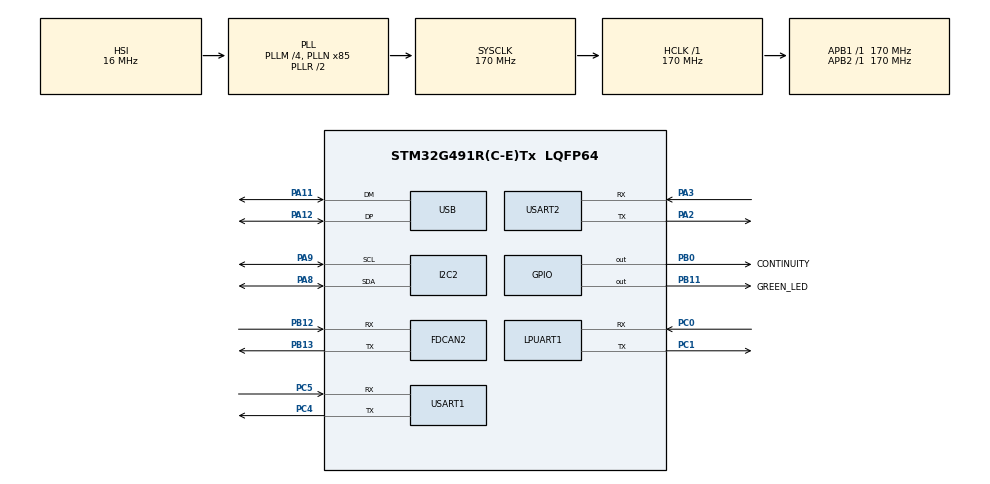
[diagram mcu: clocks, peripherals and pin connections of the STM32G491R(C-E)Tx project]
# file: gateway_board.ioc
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Dma.DMA_GENERATOR0.0.Direction=DMA_PERIPH_TO_MEMORY
Dma.DMA_GENERATOR0.0.EventEnable=DISABLE
Dma.DMA_GENERATOR0.0.Instance=DMA1_Channel1
Dma.DMA_GENERATOR0.0.MemDataAlignment=DMA_MDATAALIGN_BYTE
Dma.DMA_GENERATOR0.0.MemInc=DMA_MINC_ENABLE
Dma.DMA_GENERATOR0.0.Mode=DMA_NORMAL
Dma.DMA_GENERATOR0.0.PeriphDataAlignment=DMA_PDATAALIGN_BYTE
Dma.DMA_GENERATOR0.0.PeriphInc=DMA_PINC_DISABLE
Dma.DMA_GENERATOR0.0.Polarity=HAL_DMAMUX_REQ_GEN_RISING
Dma.DMA_GENERATOR0.0.Priority=DMA_PRIORITY_LOW
Dma.DMA_GENERATOR0.0.RequestNumber=1
Dma.DMA_GENERATOR0.0.SignalID=NONE
Dma.DMA_GENERATOR0.0.SyncEnable=DISABLE
Dma.DMA_GENERATOR0.0.SyncPolarity=HAL_DMAMUX_SYNC_NO_EVENT
Dma.DMA_GENERATOR0.0.SyncRequestNumber=1
Dma.DMA_GENERATOR0.0.SyncSignalID=NONE
Dma.LPUART1_RX.1.Direction=DMA_PERIPH_TO_MEMORY
Dma.LPUART1_RX.1.EventEnable=DISABLE
Dma.LPUART1_RX.1.Instance=DMA1_Channel2
Dma.LPUART1_RX.1.MemDataAlignment=DMA_MDATAALIGN_BYTE
Dma.LPUART1_RX.1.MemInc=DMA_MINC_ENABLE
Dma.LPUART1_RX.1.Mode=DMA_NORMAL
Dma.LPUART1_RX.1.PeriphDataAlignment=DMA_PDATAALIGN_BYTE
Dma.LPUART1_RX.1.PeriphInc=DMA_PINC_DISABLE
Dma.LPUART1_RX.1.Polarity=HAL_DMAMUX_REQ_GEN_RISING
Dma.LPUART1_RX.1.Priority=DMA_PRIORITY_LOW
Dma.LPUART1_RX.1.RequestNumber=1
Dma.LPUART1_RX.1.SignalID=NONE
Dma.LPUART1_RX.1.SyncEnable=DISABLE
Dma.LPUART1_RX.1.SyncPolarity=HAL_DMAMUX_SYNC_NO_EVENT
Dma.LPUART1_RX.1.SyncRequestNumber=1
Dma.LPUART1_RX.1.SyncSignalID=NONE
Dma.LPUART1_TX.2.Direction=DMA_MEMORY_TO_PERIPH
Dma.LPUART1_TX.2.EventEnable=DISABLE
Dma.LPUART1_TX.2.Instance=DMA1_Channel3
Dma.LPUART1_TX.2.MemDataAlignment=DMA_MDATAALIGN_BYTE
Dma.LPUART1_TX.2.MemInc=DMA_MINC_ENABLE
Dma.LPUART1_TX.2.Mode=DMA_NORMAL
Dma.LPUART1_TX.2.PeriphDataAlignment=DMA_PDATAALIGN_BYTE
Dma.LPUART1_TX.2.PeriphInc=DMA_PINC_DISABLE
Dma.LPUART1_TX.2.Polarity=HAL_DMAMUX_REQ_GEN_RISING
Dma.LPUART1_TX.2.Priority=DMA_PRIORITY_LOW
Dma.LPUART1_TX.2.RequestNumber=1
Dma.LPUART1_TX.2.SignalID=NONE
Dma.LPUART1_TX.2.SyncEnable=DISABLE
Dma.LPUART1_TX.2.SyncPolarity=HAL_DMAMUX_SYNC_NO_EVENT
Dma.LPUART1_TX.2.SyncRequestNumber=1
Dma.LPUART1_TX.2.SyncSignalID=NONE
Dma.Request0=DMA_GENERATOR0
Dma.Request1=LPUART1_RX
Dma.Request2=LPUART1_TX
Dma.Request3=USART2_RX
Dma.Request4=USART2_TX
Dma.Request5=USART1_RX
Dma.Request6=USART1_TX
Dma.USART1_RX.5.Direction=DMA_PERIPH_TO_MEMORY
Dma.USART1_RX.5.EventEnable=DISABLE
Dma.USART1_RX.5.Instance=DMA1_Channel6
Dma.USART1_RX.5.MemDataAlignment=DMA_MDATAALIGN_BYTE
Dma.USART1_RX.5.MemInc=DMA_MINC_ENABLE
Dma.USART1_RX.5.Mode=DMA_NORMAL
Dma.USART1_RX.5.PeriphDataAlignment=DMA_PDATAALIGN_BYTE
Dma.USART1_RX.5.PeriphInc=DMA_PINC_DISABLE
Dma.USART1_RX.5.Polarity=HAL_DMAMUX_REQ_GEN_RISING
Dma.USART1_RX.5.Priority=DMA_PRIORITY_LOW
Dma.USART1_RX.5.RequestNumber=1
Dma.USART1_RX.5.SignalID=NONE
Dma.USART1_RX.5.SyncEnable=DISABLE
Dma.USART1_RX.5.SyncPolarity=HAL_DMAMUX_SYNC_NO_EVENT
Dma.USART1_RX.5.SyncRequestNumber=1
Dma.USART1_RX.5.SyncSignalID=NONE
Dma.USART1_TX.6.Direction=DMA_MEMORY_TO_PERIPH
Dma.USART1_TX.6.EventEnable=DISABLE
Dma.USART1_TX.6.Instance=DMA1_Channel7
Dma.USART1_TX.6.MemDataAlignment=DMA_MDATAALIGN_BYTE
Dma.USART1_TX.6.MemInc=DMA_MINC_ENABLE
Dma.USART1_TX.6.Mode=DMA_NORMAL
Dma.USART1_TX.6.PeriphDataAlignment=DMA_PDATAALIGN_BYTE
Dma.USART1_TX.6.PeriphInc=DMA_PINC_DISABLE
Dma.USART1_TX.6.Polarity=HAL_DMAMUX_REQ_GEN_RISING
Dma.USART1_TX.6.Priority=DMA_PRIORITY_LOW
Dma.USART1_TX.6.RequestNumber=1
Dma.USART1_TX.6.SignalID=NONE
Dma.USART1_TX.6.SyncEnable=DISABLE
Dma.USART1_TX.6.SyncPolarity=HAL_DMAMUX_SYNC_NO_EVENT
Dma.USART1_TX.6.SyncRequestNumber=1
Dma.USART1_TX.6.SyncSignalID=NONE
Dma.USART2_RX.3.Direction=DMA_PERIPH_TO_MEMORY
Dma.USART2_RX.3.EventEnable=DISABLE
Dma.USART2_RX.3.Instance=DMA1_Channel4
Dma.USART2_RX.3.MemDataAlignment=DMA_MDATAALIGN_BYTE
Dma.USART2_RX.3.MemInc=DMA_MINC_ENABLE
Dma.USART2_RX.3.Mode=DMA_CIRCULAR
Dma.USART2_RX.3.PeriphDataAlignment=DMA_PDATAALIGN_BYTE
Dma.USART2_RX.3.PeriphInc=DMA_PINC_DISABLE
Dma.USART2_RX.3.Polarity=HAL_DMAMUX_REQ_GEN_RISING
Dma.USART2_RX.3.Priority=DMA_PRIORITY_LOW
Dma.USART2_RX.3.RequestNumber=1
Dma.USART2_RX.3.SignalID=NONE
Dma.USART2_RX.3.SyncEnable=DISABLE
Dma.USART2_RX.3.SyncPolarity=HAL_DMAMUX_SYNC_NO_EVENT
Dma.USART2_RX.3.SyncRequestNumber=1
Dma.USART2_RX.3.SyncSignalID=NONE
Dma.USART2_TX.4.Direction=DMA_MEMORY_TO_PERIPH
Dma.USART2_TX.4.EventEnable=DISABLE
Dma.USART2_TX.4.Instance=DMA1_Channel5
Dma.USART2_TX.4.MemDataAlignment=DMA_MDATAALIGN_BYTE
Dma.USART2_TX.4.MemInc=DMA_MINC_ENABLE
Dma.USART2_TX.4.Mode=DMA_NORMAL
Dma.USART2_TX.4.PeriphDataAlignment=DMA_PDATAALIGN_BYTE
Dma.USART2_TX.4.PeriphInc=DMA_PINC_DISABLE
Dma.USART2_TX.4.Polarity=HAL_DMAMUX_REQ_GEN_RISING
Dma.USART2_TX.4.Priority=DMA_PRIORITY_LOW
Dma.USART2_TX.4.RequestNumber=1
Dma.USART2_TX.4.SignalID=NONE
Dma.USART2_TX.4.SyncEnable=DISABLE
Dma.USART2_TX.4.SyncPolarity=HAL_DMAMUX_SYNC_NO_EVENT
Dma.USART2_TX.4.SyncRequestNumber=1
Dma.USART2_TX.4.SyncSignalID=NONE
FDCAN2.CalculateBaudRateNominal=3541666
FDCAN2.CalculateTimeBitNominal=282
FDCAN2.CalculateTimeQuantumNominal=11.764705882352942
FDCAN2.FrameFormat=FDCAN_FRAME_FD_NO_BRS
FDCAN2.AutoRetransmission=ENABLE
FDCAN2.NominalPrescaler=2
FDCAN2.NominalTimeSeg1=19
FDCAN2.NominalTimeSeg2=4
FDCAN2.NominalSyncJumpWidth=4
I2C2.Timing=0x00503D58
LPUART1.FIFOMode=UART_FIFOMODE_ENABLE
LPUART1.VirtualMode-Asynchronous=VM_ASYNC
Mcu.Family=STM32G4
Mcu.Name=STM32G491R(C-E)Tx
Mcu.Package=LQFP64
NVIC.DMA1_Channel2_IRQn=true\:0\:0\:false\:false\:true\:true\:false\:true\:true
NVIC.DMA1_Channel3_IRQn=true\:0\:0\:false\:false\:true\:true\:false\:true\:true
NVIC.DMA1_Channel4_IRQn=true\:0\:0\:false\:false\:true\:true\:false\:true\:true
NVIC.DMA1_Channel5_IRQn=true\:0\:0\:false\:false\:true\:true\:false\:true\:true
NVIC.DMA1_Channel6_IRQn=true\:0\:0\:false\:false\:true\:true\:false\:true\:true
NVIC.DMA1_Channel7_IRQn=true\:0\:0\:false\:false\:true\:true\:false\:true\:true
NVIC.FDCAN2_IT0_IRQn=true\:6\:0\:true\:false\:true\:false\:true\:true\:true
NVIC.FDCAN2_IT1_IRQn=true\:6\:0\:true\:false\:true\:false\:true\:true\:true
NVIC.LPUART1_IRQn=true\:0\:0\:false\:false\:true\:true\:true\:true\:true
NVIC.PriorityGroup=NVIC_PRIORITYGROUP_4
NVIC.TIM6_DAC_IRQn=true\:15\:0\:false\:false\:true\:false\:false\:true\:true
NVIC.TimeBase=TIM6_DAC_IRQn
NVIC.TimeBaseIP=TIM6
NVIC.USART1_IRQn=true\:0\:0\:false\:false\:true\:true\:true\:true\:true
NVIC.USART2_IRQn=true\:0\:0\:false\:false\:true\:true\:true\:true\:true
NVIC.USB_LP_IRQn=true\:5\:0\:true\:false\:true\:false\:true\:true\:true
PA11.Mode=Device
PA11.Signal=USB_DM
PA12.Mode=Device
PA12.Signal=USB_DP
PA13.Mode=Serial_Wire
PA13.Signal=SYS_JTMS-SWDIO
PA14.Mode=Serial_Wire
PA14.Signal=SYS_JTCK-SWCLK
PA2.Mode=Asynchronous
PA2.Signal=USART2_TX
PA3.Mode=Asynchronous
PA3.Signal=USART2_RX
PA8.Mode=I2C
PA8.Signal=I2C2_SDA
PA9.Mode=I2C
PA9.Signal=I2C2_SCL
PB0.GPIO_Label=CONTINUITY
PB0.PinState=GPIO_PIN_SET
PB0.Signal=GPIO_Output
PB11.GPIO_Label=GREEN_LED
PB11.Signal=GPIO_Output
PB12.Mode=FDCAN_Activate
PB12.Signal=FDCAN2_RX
PB13.Mode=FDCAN_Activate
PB13.Signal=FDCAN2_TX
PC0.Mode=Asynchronous
PC0.Signal=LPUART1_RX
PC1.Mode=Asynchronous
PC1.Signal=LPUART1_TX
PC14-OSC32_IN.Mode=LSE-External-Oscillator
PC14-OSC32_IN.Signal=RCC_OSC32_IN
PC15-OSC32_OUT.Mode=LSE-External-Oscillator
PC15-OSC32_OUT.Signal=RCC_OSC32_OUT
PC4.Mode=Asynchronous
PC4.Signal=USART1_TX
PC5.Mode=Asynchronous
PC5.Signal=USART1_RX
PF0-OSC_IN.Mode=HSE-External-Oscillator
PF0-OSC_IN.Signal=RCC_OSC_IN
PF1-OSC_OUT.Mode=HSE-External-Oscillator
PF1-OSC_OUT.Signal=RCC_OSC_OUT
ProjectManager.HeapSize=0x200
ProjectManager.StackSize=0x400
ProjectManager.TargetToolchain=CMake
RCC.ADC12Freq_Value=170000000
RCC.ADC345Freq_Value=170000000
RCC.AHBFreq_Value=170000000
RCC.APB1Freq_Value=170000000
RCC.APB1TimFreq_Value=170000000
RCC.APB2Freq_Value=170000000
RCC.APB2TimFreq_Value=170000000
RCC.CortexFreq_Value=170000000
RCC.EXTERNAL_CLOCK_VALUE=12288000
RCC.HCLKFreq_Value=170000000
RCC.HSE_VALUE=8000000
RCC.HSI48_VALUE=48000000
RCC.HSI_VALUE=16000000
RCC.PLLM=RCC_PLLM_DIV4
RCC.PLLN=85
RCC.SYSCLKFreq_VALUE=170000000
RCC.SYSCLKSource=RCC_SYSCLKSOURCE_PLLCLK
RCC.VCOOutputFreq_Value=340000000
STMicroelectronics.X-CUBE-AZRTOS-G4.2.0.0.REG_USBX_DEVICE_CON_CK=1
STMicroelectronics.X-CUBE-AZRTOS-G4.2.0.0.TX_APP_GENERATE_INIT_CODE=true
STMicroelectronics.X-CUBE-AZRTOS-G4.2.0.0.TX_APP_MEM_POOL_SIZE=65408
STMicroelectronics.X-CUBE-AZRTOS-G4.2.0.0.TX_TIMER_TICKS_PER_SECOND=1000
STMicroelectronics.X-CUBE-AZRTOS-G4.2.0.0.ThreadXCcRTOSJjThreadXJjCore=true
STMicroelectronics.X-CUBE-AZRTOS-G4.2.0.0.ThreadXCcRTOSJjThreadXJjLowOoPowerOosupport=true
STMicroelectronics.X-CUBE-AZRTOS-G4.2.0.0.ThreadXCcRTOSJjThreadXJjPerformanceInfo=true
STMicroelectronics.X-CUBE-AZRTOS-G4.2.0.0.ThreadXCcRTOSJjThreadXJjTraceXOosupport=true
STMicroelectronics.X-CUBE-AZRTOS-G4.2.0.0.USBD_CDCACM_EPINCMD_ADDR=2
STMicroelectronics.X-CUBE-AZRTOS-G4.2.0.0.USBD_MANUFACTURER_STRING=UBSEDS
STMicroelectronics.X-CUBE-AZRTOS-G4.2.0.0.USBD_PRODUCT_STRING=CHUD Gateway Board
STMicroelectronics.X-CUBE-AZRTOS-G4.2.0.0.USBD_SERIAL_NUMBER=67
STMicroelectronics.X-CUBE-AZRTOS-G4.2.0.0.USBXCcUSBJjUSBXJjCoreSystem=true
STMicroelectronics.X-CUBE-AZRTOS-G4.2.0.0.USBXCcUSBJjUSBXJjUXOoDeviceOoClassOoCDCOoACM=true
STMicroelectronics.X-CUBE-AZRTOS-G4.2.0.0.USBXCcUSBJjUSBXJjUXOoDeviceOoControllers=true
STMicroelectronics.X-CUBE-AZRTOS-G4.2.0.0.USBXCcUSBJjUSBXJjUXOoDeviceOoCoreStack=true
STMicroelectronics.X-CUBE-AZRTOS-G4.2.0.0.USBX_DEVICE_APP_THREAD_Size=5120
STMicroelectronics.X-CUBE-AZRTOS-G4.2.0.0.USBX_DEVICE_SYS_SIZE=5120
STMicroelectronics.X-CUBE-AZRTOS-G4.2.0.0.UX_DEVICE_APP_MEM_POOL_SIZE=20904
STMicroelectronics.X-CUBE-AZRTOS-G4.2.0.0.UX_SLAVE_REQUEST_DATA_MAX_LENGTH=512
STMicroelectronics.X-CUBE-AZRTOS-G4.2.0.0_IsAnAzureRtosMw=true
USART1.FIFOMode=FIFOMODE_DISABLE
USART1.VirtualMode-Asynchronous=VM_ASYNC
USART2.FIFOMode=FIFOMODE_ENABLE
USART2.VirtualMode-Asynchronous=VM_ASYNC
VP_STMicroelectronics.X-CUBE-AZRTOS-G4_VS_RTOSJjThreadX_6.2.0_2.0.0.Mode=RTOSJjThreadX
VP_STMicroelectronics.X-CUBE-AZRTOS-G4_VS_USBJjUSBX_6.2.0_2.0.0.Mode=USBJjUSBX
VP_SYS_VS_DBSignals.Mode=DisableDeadBatterySignals
VP_SYS_VS_tim6.Mode=TIM6
board=custom

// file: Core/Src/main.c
#include "board_commissioning.h"
#include "board_recovery_floor.h"
#include "persistent_store.h"
/* USER CODE BEGIN Header */
/**
 ******************************************************************************
 * @file           : main.c
 * @brief          : Main program body
 ******************************************************************************
 * @attention
 *
 * Copyright (c) 2026 STMicroelectronics.
 * All rights reserved.
 *
 * This software is licensed under terms that can be found in the LICENSE file
 * in the root directory of this software component.
 * If no LICENSE file comes with this software, it is provided AS-IS.
 *
 ******************************************************************************
 */
/* USER CODE END Header */
#include "app_threadx.h"
#include "main.h"
#include "board_watchdog.h"

/* USER CODE BEGIN Includes */
#ifdef TELEMETRY_ENABLED
#include "board_crc32.h"
#endif
#include "ux_api.h"
#include "ux_device_class_cdc_acm.h"
#include <stdint.h>
#include <stdio.h>
#include <string.h>
#include "flight_state_cache.h"
#include "board_recovery_boot.h"
#include "gateway_loadgen.h"
extern UX_SLAVE_CLASS_CDC_ACM *cdc_acm;
/* USER CODE END Includes */

/* USER CODE BEGIN PTD */
static void busy_delay(volatile uint32_t n)
{
  while (n--) { __NOP(); }
}
/* USER CODE END PTD */

FDCAN_HandleTypeDef hfdcan2;

I2C_HandleTypeDef hi2c2;

UART_HandleTypeDef hlpuart1;
UART_HandleTypeDef huart1;
UART_HandleTypeDef huart2;
DMA_HandleTypeDef hdma_lpuart1_rx;
DMA_HandleTypeDef hdma_lpuart1_tx;
DMA_HandleTypeDef hdma_usart1_rx;
DMA_HandleTypeDef hdma_usart1_tx;
DMA_HandleTypeDef hdma_usart2_rx;
DMA_HandleTypeDef hdma_usart2_tx;

#if FIRMWARE_USB_DEBUG_ENABLED
PCD_HandleTypeDef hpcd_USB_FS;
#endif

DMA_HandleTypeDef hdma_dma_generator0;

void SystemClock_Config(void);
static void MX_DMA_Init(void);
static void MX_GPIO_Init(void);
static void MX_FDCAN2_Init(void);
static void MX_I2C2_Init(void);
#if FIRMWARE_USB_DEBUG_ENABLED
static void MX_USB_PCD_Init(void);
#endif
static void MX_USART1_UART_Init(void);
static void MX_USART2_UART_Init(void);
static void MX_LPUART1_UART_Init(void);

int main(void)
{

  /* MCU Configuration--------------------------------------------------------*/

  /* Reset of all peripherals, Initializes the Flash interface and the Systick. */
  HAL_Init();

  /* USER CODE BEGIN Init */
  /* HAL_Init relies on reset defaults when caches are enabled in the config.
   * Explicitly enable them when the application is entered by the bootloader. */
#if (INSTRUCTION_CACHE_ENABLE != 0U)
  __HAL_FLASH_INSTRUCTION_CACHE_ENABLE();
#endif
#if (DATA_CACHE_ENABLE != 0U)
  __HAL_FLASH_DATA_CACHE_ENABLE();
#endif
  /* USER CODE END Init */

  /* Configure the system clock */
  SystemClock_Config();

  /* USER CODE BEGIN SysInit */
#ifdef TELEMETRY_ENABLED
  /* Before any SEDSnet router exists: frame CRCs on the CRC unit once it
   * passes its self-test, otherwise SEDSnet keeps its software CRC. */
  (void)board_crc32_install();
#endif
  /* USER CODE END SysInit */

  /* Initialize all configured peripherals */
  MX_DMA_Init();
  MX_GPIO_Init();
  MX_FDCAN2_Init();
  MX_I2C2_Init();
#if FIRMWARE_USB_DEBUG_ENABLED
  MX_USB_PCD_Init();
#endif
  MX_USART1_UART_Init();
  MX_USART2_UART_Init();
  MX_LPUART1_UART_Init();

  (void)persistent_store_boot_begin();
  /* Establish recovery identity before cached state restore and control tasks. */
  (void)board_recovery_boot_generation();
  (void)board_recovery_floor_prime_boot(); /* Cached failure stays queryable/inhibited. */
  board_commissioning_probe_boot();
  flight_state_cache_restore();
  board_watchdog_start();
  MX_ThreadX_Init();

  /* We should never get here as control is now taken by the scheduler */

  /* Infinite loop */
  while (1)
  {

  }
}

void SystemClock_Config(void)
{
  RCC_OscInitTypeDef RCC_OscInitStruct = {0};
  RCC_ClkInitTypeDef RCC_ClkInitStruct = {0};

  /** Configure the main internal regulator output voltage
  */
  HAL_PWREx_ControlVoltageScaling(PWR_REGULATOR_VOLTAGE_SCALE1_BOOST);

  /** Initializes the RCC Oscillators according to the specified parameters
  * in the RCC_OscInitTypeDef structure.
  */
  RCC_OscInitStruct.OscillatorType = RCC_OSCILLATORTYPE_HSI|RCC_OSCILLATORTYPE_HSI48;
  RCC_OscInitStruct.HSIState = RCC_HSI_ON;
  RCC_OscInitStruct.HSICalibrationValue = RCC_HSICALIBRATION_DEFAULT;
  RCC_OscInitStruct.HSI48State = RCC_HSI48_ON;
  RCC_OscInitStruct.PLL.PLLState = RCC_PLL_ON;
  RCC_OscInitStruct.PLL.PLLSource = RCC_PLLSOURCE_HSI;
  RCC_OscInitStruct.PLL.PLLM = RCC_PLLM_DIV4;
  RCC_OscInitStruct.PLL.PLLN = 85;
  RCC_OscInitStruct.PLL.PLLP = RCC_PLLP_DIV2;
  RCC_OscInitStruct.PLL.PLLQ = RCC_PLLQ_DIV2;
  RCC_OscInitStruct.PLL.PLLR = RCC_PLLR_DIV2;
  if (HAL_RCC_OscConfig(&RCC_OscInitStruct) != HAL_OK)
  {
    Error_Handler();
  }

  /** Initializes the CPU, AHB and APB buses clocks
  */
  RCC_ClkInitStruct.ClockType = RCC_CLOCKTYPE_HCLK|RCC_CLOCKTYPE_SYSCLK
                              |RCC_CLOCKTYPE_PCLK1|RCC_CLOCKTYPE_PCLK2;
  RCC_ClkInitStruct.SYSCLKSource = RCC_SYSCLKSOURCE_PLLCLK;
  RCC_ClkInitStruct.AHBCLKDivider = RCC_SYSCLK_DIV1;
  RCC_ClkInitStruct.APB1CLKDivider = RCC_HCLK_DIV1;
  RCC_ClkInitStruct.APB2CLKDivider = RCC_HCLK_DIV1;

  if (HAL_RCC_ClockConfig(&RCC_ClkInitStruct, FLASH_LATENCY_4) != HAL_OK)
  {
    Error_Handler();
  }
}

static void MX_FDCAN2_Init(void)
{

  hfdcan2.Instance = FDCAN2;
  hfdcan2.Init.ClockDivider = FDCAN_CLOCK_DIV1;
  hfdcan2.Init.FrameFormat = FDCAN_FRAME_FD_NO_BRS;
  hfdcan2.Init.Mode = FDCAN_MODE_NORMAL;
  /* FDCAN retries physical arbitration/ACK failures; SEDSNet supplies
   * end-to-end reliability without blocking this non-blocking TX path. */
  hfdcan2.Init.AutoRetransmission = ENABLE;
  hfdcan2.Init.TransmitPause = DISABLE;
  hfdcan2.Init.ProtocolException = DISABLE;
  /* Same 48-clock bit period as 16*(1+1+1), with a later sample point. */
  hfdcan2.Init.NominalPrescaler = 2;
  hfdcan2.Init.NominalSyncJumpWidth = 4;
  hfdcan2.Init.NominalTimeSeg1 = 19;
  hfdcan2.Init.NominalTimeSeg2 = 4;
  hfdcan2.Init.DataPrescaler = 1;
  hfdcan2.Init.DataSyncJumpWidth = 1;
  hfdcan2.Init.DataTimeSeg1 = 1;
  hfdcan2.Init.DataTimeSeg2 = 1;
  hfdcan2.Init.StdFiltersNbr = 0;
  hfdcan2.Init.ExtFiltersNbr = 0;
  hfdcan2.Init.TxFifoQueueMode = FDCAN_TX_FIFO_OPERATION;
  if (HAL_FDCAN_Init(&hfdcan2) != HAL_OK)
  {
    Error_Handler();
  }

}

static void MX_I2C2_Init(void)
{

  hi2c2.Instance = I2C2;
  hi2c2.Init.Timing = 0x00503D58;
  hi2c2.Init.OwnAddress1 = 0;
  hi2c2.Init.AddressingMode = I2C_ADDRESSINGMODE_7BIT;
  hi2c2.Init.DualAddressMode = I2C_DUALADDRESS_DISABLE;
  hi2c2.Init.OwnAddress2 = 0;
  hi2c2.Init.OwnAddress2Masks = I2C_OA2_NOMASK;
  hi2c2.Init.GeneralCallMode = I2C_GENERALCALL_DISABLE;
  hi2c2.Init.NoStretchMode = I2C_NOSTRETCH_DISABLE;
  if (HAL_I2C_Init(&hi2c2) != HAL_OK)
  {
    Error_Handler();
  }

  /** Configure Analogue filter
  */
  if (HAL_I2CEx_ConfigAnalogFilter(&hi2c2, I2C_ANALOGFILTER_ENABLE) != HAL_OK)
  {
    Error_Handler();
  }

  /** Configure Digital filter
  */
  if (HAL_I2CEx_ConfigDigitalFilter(&hi2c2, 0) != HAL_OK)
  {
    Error_Handler();
  }

}

static void MX_LPUART1_UART_Init(void)
{

  hlpuart1.Instance = LPUART1;
  hlpuart1.Init.BaudRate = 209700;
  hlpuart1.Init.WordLength = UART_WORDLENGTH_8B;
  hlpuart1.Init.StopBits = UART_STOPBITS_1;
  hlpuart1.Init.Parity = UART_PARITY_NONE;
  hlpuart1.Init.Mode = UART_MODE_TX_RX;
  hlpuart1.Init.HwFlowCtl = UART_HWCONTROL_NONE;
  hlpuart1.Init.OneBitSampling = UART_ONE_BIT_SAMPLE_DISABLE;
  hlpuart1.Init.ClockPrescaler = UART_PRESCALER_DIV1;
  hlpuart1.AdvancedInit.AdvFeatureInit = UART_ADVFEATURE_NO_INIT;
  if (HAL_UART_Init(&hlpuart1) != HAL_OK)
  {
    Error_Handler();
  }
  if (HAL_UARTEx_SetTxFifoThreshold(&hlpuart1, UART_TXFIFO_THRESHOLD_1_8) != HAL_OK)
  {
    Error_Handler();
  }
  if (HAL_UARTEx_SetRxFifoThreshold(&hlpuart1, UART_RXFIFO_THRESHOLD_1_8) != HAL_OK)
  {
    Error_Handler();
  }
  if (HAL_UARTEx_EnableFifoMode(&hlpuart1) != HAL_OK)
  {
    Error_Handler();
  }

}

static void MX_USART1_UART_Init(void)
{

  huart1.Instance = USART1;
  huart1.Init.BaudRate = 115200;
  huart1.Init.WordLength = UART_WORDLENGTH_8B;
  huart1.Init.StopBits = UART_STOPBITS_1;
  huart1.Init.Parity = UART_PARITY_NONE;
  huart1.Init.Mode = UART_MODE_TX_RX;
  huart1.Init.HwFlowCtl = UART_HWCONTROL_NONE;
  huart1.Init.OverSampling = UART_OVERSAMPLING_16;
  huart1.Init.OneBitSampling = UART_ONE_BIT_SAMPLE_DISABLE;
  huart1.Init.ClockPrescaler = UART_PRESCALER_DIV1;
  huart1.AdvancedInit.AdvFeatureInit = UART_ADVFEATURE_NO_INIT;
  if (HAL_UART_Init(&huart1) != HAL_OK)
  {
    Error_Handler();
  }
  if (HAL_UARTEx_SetTxFifoThreshold(&huart1, UART_TXFIFO_THRESHOLD_1_8) != HAL_OK)
  {
    Error_Handler();
  }
  if (HAL_UARTEx_SetRxFifoThreshold(&huart1, UART_RXFIFO_THRESHOLD_1_8) != HAL_OK)
  {
    Error_Handler();
  }
  if (HAL_UARTEx_DisableFifoMode(&huart1) != HAL_OK)
  {
    Error_Handler();
  }

}

static void MX_USART2_UART_Init(void)
{

  huart2.Instance = USART2;
#ifndef GATEWAY_PICO_UART_BAUD_RATE
#define GATEWAY_PICO_UART_BAUD_RATE 1000000U
#endif
  huart2.Init.BaudRate = GATEWAY_PICO_UART_BAUD_RATE;
  huart2.Init.WordLength = UART_WORDLENGTH_8B;
  huart2.Init.StopBits = UART_STOPBITS_1;
  huart2.Init.Parity = UART_PARITY_NONE;
  huart2.Init.Mode = UART_MODE_TX_RX;
  huart2.Init.HwFlowCtl = UART_HWCONTROL_NONE;
  huart2.Init.OverSampling = UART_OVERSAMPLING_16;
  huart2.Init.OneBitSampling = UART_ONE_BIT_SAMPLE_DISABLE;
  huart2.Init.ClockPrescaler = UART_PRESCALER_DIV1;
  huart2.AdvancedInit.AdvFeatureInit = UART_ADVFEATURE_NO_INIT;
  if (HAL_UART_Init(&huart2) != HAL_OK)
  {
    Error_Handler();
  }
  if (HAL_UARTEx_SetTxFifoThreshold(&huart2, UART_TXFIFO_THRESHOLD_1_8) != HAL_OK)
  {
    Error_Handler();
  }
  if (HAL_UARTEx_SetRxFifoThreshold(&huart2, UART_RXFIFO_THRESHOLD_1_8) != HAL_OK)
  {
    Error_Handler();
  }
  if (HAL_UARTEx_EnableFifoMode(&huart2) != HAL_OK)
  {
    Error_Handler();
  }

}

#if FIRMWARE_USB_DEBUG_ENABLED
static void MX_USB_PCD_Init(void)
{

  hpcd_USB_FS.Instance = USB;
  hpcd_USB_FS.Init.dev_endpoints = 8;
  hpcd_USB_FS.Init.speed = PCD_SPEED_FULL;
  hpcd_USB_FS.Init.phy_itface = PCD_PHY_EMBEDDED;
  hpcd_USB_FS.Init.Sof_enable = DISABLE;
  hpcd_USB_FS.Init.low_power_enable = DISABLE;
  hpcd_USB_FS.Init.lpm_enable = DISABLE;
  hpcd_USB_FS.Init.battery_charging_enable = DISABLE;
  if (HAL_PCD_Init(&hpcd_USB_FS) != HAL_OK)
  {
    Error_Handler();
  }

}
#endif

static void MX_DMA_Init(void)
{

  /* DMA controller clock enable */
  __HAL_RCC_DMAMUX1_CLK_ENABLE();
  __HAL_RCC_DMA1_CLK_ENABLE();

  /* Configure DMA request hdma_dma_generator0 on DMA1_Channel1 */
  hdma_dma_generator0.Instance = DMA1_Channel1;
  hdma_dma_generator0.Init.Request = DMA_REQUEST_GENERATOR0;
  hdma_dma_generator0.Init.Direction = DMA_PERIPH_TO_MEMORY;
  hdma_dma_generator0.Init.PeriphInc = DMA_PINC_DISABLE;
  hdma_dma_generator0.Init.MemInc = DMA_MINC_ENABLE;
  hdma_dma_generator0.Init.PeriphDataAlignment = DMA_PDATAALIGN_BYTE;
  hdma_dma_generator0.Init.MemDataAlignment = DMA_MDATAALIGN_BYTE;
  hdma_dma_generator0.Init.Mode = DMA_NORMAL;
  hdma_dma_generator0.Init.Priority = DMA_PRIORITY_LOW;
  if (HAL_DMA_Init(&hdma_dma_generator0) != HAL_OK)
  {
    Error_Handler( );
  }

  /* DMA interrupt init */
  /* DMA1_Channel2_IRQn interrupt configuration */
  HAL_NVIC_SetPriority(DMA1_Channel2_IRQn, 0, 0);
  HAL_NVIC_EnableIRQ(DMA1_Channel2_IRQn);
  /* DMA1_Channel3_IRQn interrupt configuration */
  HAL_NVIC_SetPriority(DMA1_Channel3_IRQn, 0, 0);
  HAL_NVIC_EnableIRQ(DMA1_Channel3_IRQn);
  /* DMA1_Channel4_IRQn interrupt configuration */
  HAL_NVIC_SetPriority(DMA1_Channel4_IRQn, 0, 0);
  HAL_NVIC_EnableIRQ(DMA1_Channel4_IRQn);
  /* DMA1_Channel5_IRQn interrupt configuration */
  HAL_NVIC_SetPriority(DMA1_Channel5_IRQn, 0, 0);
  HAL_NVIC_EnableIRQ(DMA1_Channel5_IRQn);
  /* DMA1_Channel6_IRQn interrupt configuration */
  HAL_NVIC_SetPriority(DMA1_Channel6_IRQn, 0, 0);
  HAL_NVIC_EnableIRQ(DMA1_Channel6_IRQn);
  /* DMA1_Channel7_IRQn interrupt configuration */
  HAL_NVIC_SetPriority(DMA1_Channel7_IRQn, 0, 0);
  HAL_NVIC_EnableIRQ(DMA1_Channel7_IRQn);

}

static void MX_GPIO_Init(void)
{
  GPIO_InitTypeDef GPIO_InitStruct = {0};

  /* GPIO Ports Clock Enable */
  __HAL_RCC_GPIOC_CLK_ENABLE();
  __HAL_RCC_GPIOF_CLK_ENABLE();
  __HAL_RCC_GPIOA_CLK_ENABLE();
  __HAL_RCC_GPIOB_CLK_ENABLE();

  /*Configure GPIO pin Output Level */
  HAL_GPIO_WritePin(CONTINUITY_GPIO_Port, CONTINUITY_Pin, GPIO_PIN_SET);

  /*Configure GPIO pin Output Level */
  HAL_GPIO_WritePin(GREEN_LED_GPIO_Port, GREEN_LED_Pin, GPIO_PIN_RESET);

  /*Configure GPIO pins : CONTINUITY_Pin GREEN_LED_Pin */
  GPIO_InitStruct.Pin = CONTINUITY_Pin|GREEN_LED_Pin;
  GPIO_InitStruct.Mode = GPIO_MODE_OUTPUT_PP;
  GPIO_InitStruct.Pull = GPIO_NOPULL;
  GPIO_InitStruct.Speed = GPIO_SPEED_FREQ_LOW;
  HAL_GPIO_Init(GPIOB, &GPIO_InitStruct);

}

/* USER CODE BEGIN 4 */

static inline int cdc_in_isr(void)
{
  return (__get_IPSR() != 0U);
}

/* ------------ Mutex for multi-thread serialization ------------ */

static TX_MUTEX cdc_mutex;

/*
 * NOTE:
 * Call this from a ThreadX thread AFTER USBX device init (MX_USBX_Device_Init)
 * has run. It's OK to call multiple times if you guard creation elsewhere,
 * but simplest is call once from your "app" thread entry.
 */
void cdc_printf_init(void)
{
  (void)tx_mutex_create(&cdc_mutex, "cdc_tx_mutex", TX_INHERIT);
}

extern volatile ULONG _tx_thread_system_state;

static inline int tx_is_running(void)
{
  return (__get_IPSR() == 0U) && (_tx_thread_system_state == 0U);
}

static void cdc_lock(void)
{
  if (!tx_is_running() || cdc_in_isr())
    return;
  (void)tx_mutex_get(&cdc_mutex, TX_WAIT_FOREVER);
}

static void cdc_unlock(void)
{
  if (!tx_is_running() || cdc_in_isr())
    return;
  (void)tx_mutex_put(&cdc_mutex);
}

/* ------------ USB ready helper ------------ */

static inline UINT usb_cdc_ready(void)
{
  return (cdc_acm != UX_NULL);
}

/* ------------ Bounded, drop-on-trouble CDC write ------------ */

static void cdc_write_raw(const uint8_t *buf, uint16_t len)
{
  if (!buf || !len || cdc_in_isr())
    return;
  if (!usb_cdc_ready())
    return;

  cdc_lock();

  /* Keep it simple: one synchronous write. If host isn't ready, drop. */
  ULONG actual = 0;
  UINT st = ux_device_class_cdc_acm_write(cdc_acm, (UCHAR *)buf, (ULONG)len, &actual);
  if (st != UX_SUCCESS || actual == 0)
  {
    /* Host not ready or write failed — drop the data instead of hard-failing.
       This avoids entering Error_Handler when USB is connected but the
       host-side serial port isn't opened. */
    cdc_unlock();
    return;
  }
  (void)actual;

  cdc_unlock();
}

/* ---------- printf redirection ---------- */

#ifdef __GNUC__
int _write(int file, char *ptr, int len)
{
  (void)file;
  if (len <= 0)
    return 0;

  /* If USB not configured, pretend we consumed everything (best-effort debug) */
  if (!usb_cdc_ready())
    return len;

  uint8_t buf[128];
  int i = 0;
  static uint8_t last_was_cr = 0;

  while (i < len)
  {
    uint16_t w = 0;

    while (i < len && w < sizeof(buf))
    {
      uint8_t c = (uint8_t)ptr[i++];

      if (c == '\n')
      {
        if (!last_was_cr)
        {
          if (w > (uint16_t)(sizeof(buf) - 2))
          {
            i--;
            break;
          }
          buf[w++] = '\r';
        }

        if (w >= sizeof(buf))
        {
          i--;
          break;
        }
        buf[w++] = '\n';
        last_was_cr = 0;
      }
      else
      {
        if (w >= sizeof(buf))
        {
          i--;
          break;
        }
        buf[w++] = c;
        last_was_cr = (c == '\r');
      }
    }

    if (w > 0)
    {
      cdc_write_raw(buf, w);
    }
  }

  return len;
}
#else
int fputc(int ch, FILE *f)
{
  (void)f;

  static uint8_t last_was_cr = 0;
  uint8_t buf[2];
  uint16_t w = 0;

  if (!usb_cdc_ready())
    return ch;

  if (ch == '\n')
  {
    if (!last_was_cr)
      buf[w++] = '\r';
    buf[w++] = '\n';
    last_was_cr = 0;
  }
  else
  {
    buf[w++] = (uint8_t)ch;
    last_was_cr = (ch == '\r');
  }

  if (w > 0)
    cdc_write_raw(buf, w);
  return ch;
}
#endif

/* USER CODE END 4 */

void HAL_TIM_PeriodElapsedCallback(TIM_HandleTypeDef *htim)
{
  if (htim->Instance == TIM6)
  {
    HAL_IncTick();
  }
  /* USER CODE BEGIN Callback 1 */
  if (htim->Instance == TIM6) gateway_loadgen_tick();
  /* USER CODE END Callback 1 */
}

void Error_Handler(void)
{
  /* USER CODE BEGIN Error_Handler_Debug */
  /* User can add his own implementation to report the HAL error return state */
  __disable_irq();
  while (1)
  {
    HAL_GPIO_TogglePin(GREEN_LED_GPIO_Port, GREEN_LED_Pin);
    busy_delay(1000000);
  }
  /* USER CODE END Error_Handler_Debug */
}
